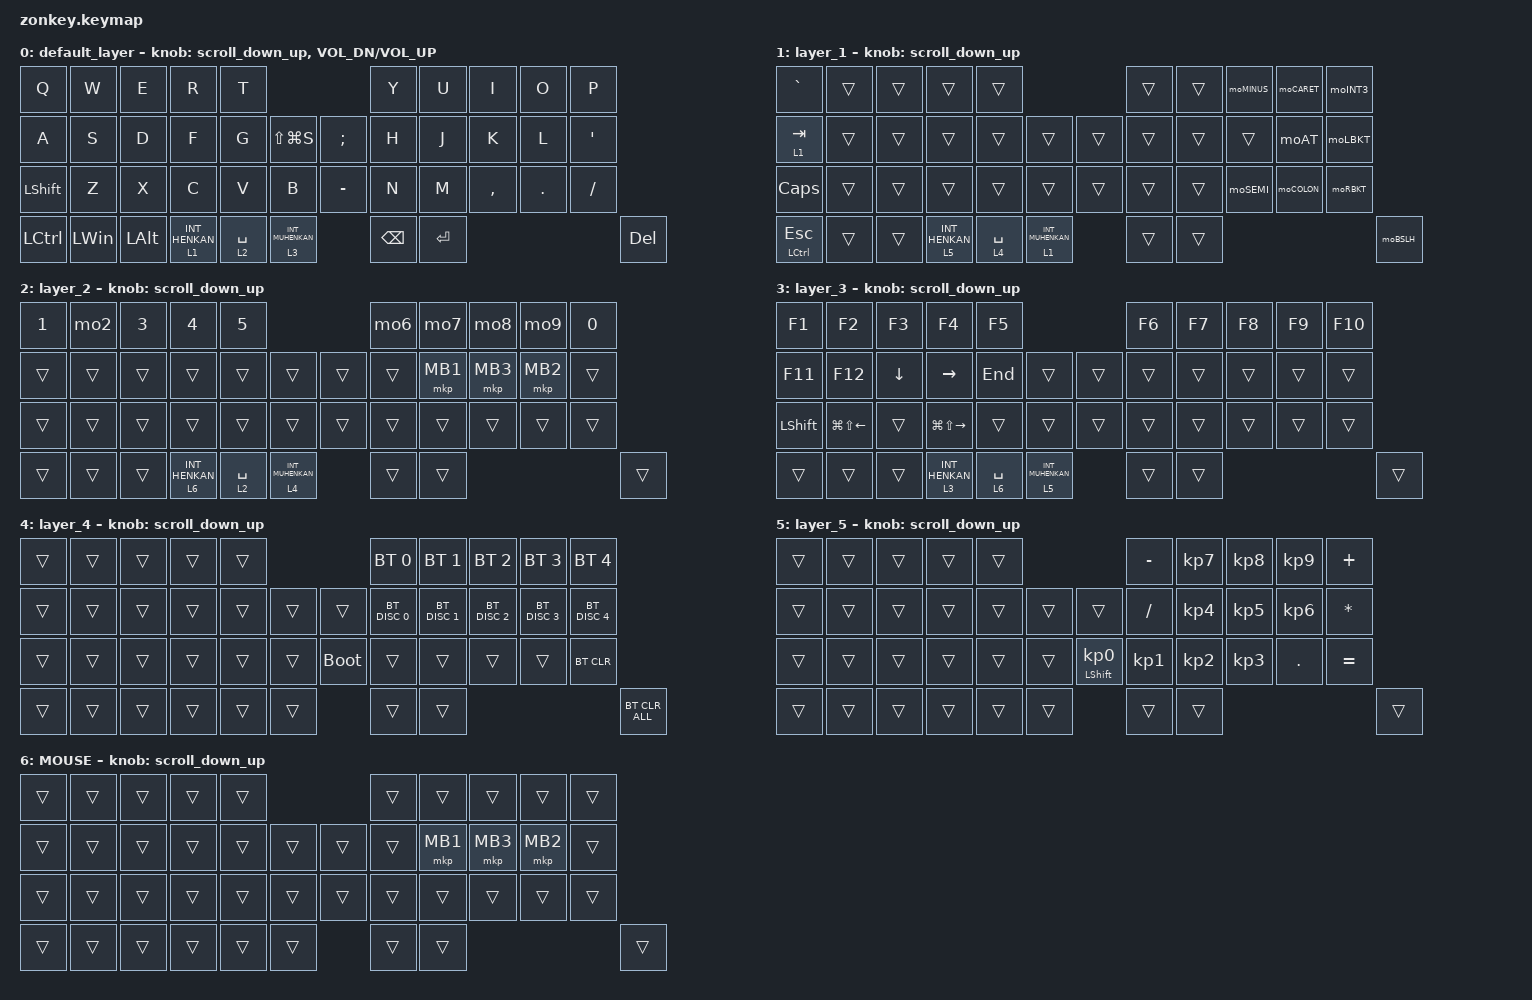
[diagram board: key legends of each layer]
#include <behaviors.dtsi>
#include <dt-bindings/zmk/bt.h>
#include <dt-bindings/zmk/keys.h>
#include <dt-bindings/zmk/pointing.h>

#define ZMK_POINTING_DEFAULT_SCRL_VAL 100
#define JIS 1
#define BT 4
#define MOUSE 6

&mt {
    flavor = "balanced";
    quick-tap-ms = <0>;
};

/ {
    combos { compatible = "zmk,combos"; };

    macros {
        to_layer_0: to_layer_0 {
            compatible = "zmk,behavior-macro-one-param";
            #binding-cells = <1>;
            bindings = <&to 0 &macro_param_1to1 &kp MACRO_PLACEHOLDER>;
            label = "TO_LAYER_0";
        };
    };

    behaviors {
        lt_to_layer_0: lt_to_layer_0 {
            compatible = "zmk,behavior-hold-tap";
            label = "LAYER_TAP_TO_0";
            bindings = <&mo>, <&to_layer_0>;

            #binding-cells = <2>;
            tapping-term-ms = <200>;
        };

        toJIS: toJIS {
            compatible = "zmk,behavior-hold-tap";
            label = "toJIS";
            #binding-cells = <2>;
            tapping-term-ms = <200>;
            quick-tap-ms = <0>;
            bindings = <&tog>, <&kp>;
        };

        mo2: mo2 {
            compatible = "zmk,behavior-mod-morph";
            #binding-cells = <0>;
            bindings = <&kp N2>, <&kp DQT>;

            mods = <(MOD_LSFT|MOD_RSFT)>;
        };

        mo6: mo6 {
            compatible = "zmk,behavior-mod-morph";
            #binding-cells = <0>;
            bindings = <&kp N6>, <&kp AMPS>;

            mods = <(MOD_LSFT|MOD_RSFT)>;
        };

        mo7: mo7 {
            compatible = "zmk,behavior-mod-morph";
            #binding-cells = <0>;
            bindings = <&kp N7>, <&kp APOS>;

            mods = <(MOD_LSFT|MOD_RSFT)>;
        };

        mo8: mo8 {
            compatible = "zmk,behavior-mod-morph";
            #binding-cells = <0>;
            bindings = <&kp N8>, <&kp LPAR>;

            mods = <(MOD_LSFT|MOD_RSFT)>;
        };

        mo9: mo9 {
            compatible = "zmk,behavior-mod-morph";
            #binding-cells = <0>;
            bindings = <&kp N9>, <&kp RPAR>;

            mods = <(MOD_LSFT|MOD_RSFT)>;
        };

        moMINUS: moMINUS {
            compatible = "zmk,behavior-mod-morph";
            #binding-cells = <0>;
            bindings = <&kp MINUS>, <&kp EQUAL>;

            mods = <(MOD_LSFT|MOD_RSFT)>;
        };

        moCARET: moCARET {
            compatible = "zmk,behavior-mod-morph";
            #binding-cells = <0>;
            bindings = <&kp CARET>, <&kp TILDE>;

            mods = <(MOD_LSFT|MOD_RSFT)>;
        };

        moINT3: moINT3 {
            compatible = "zmk,behavior-mod-morph";
            #binding-cells = <0>;
            bindings = <&kp INT3>, <&kp PIPE>;

            mods = <(MOD_LSFT|MOD_RSFT)>;
        };

        moAT: moAT {
            compatible = "zmk,behavior-mod-morph";
            #binding-cells = <0>;
            bindings = <&kp AT>, <&kp GRAVE>;

            mods = <(MOD_LSFT|MOD_RSFT)>;
        };

        moLBKT: moLBKT {
            compatible = "zmk,behavior-mod-morph";
            #binding-cells = <0>;
            bindings = <&kp LBKT>, <&kp LS(LBRC)>;

            mods = <(MOD_LSFT|MOD_RSFT)>;
        };

        moRBKT: moRBKT {
            compatible = "zmk,behavior-mod-morph";
            #binding-cells = <0>;
            bindings = <&kp RBKT>, <&kp LS(RBRC)>;

            mods = <(MOD_LSFT|MOD_RSFT)>;
        };

        moSEMI: moSEMI {
            compatible = "zmk,behavior-mod-morph";
            #binding-cells = <0>;
            bindings = <&kp SEMI>, <&kp PLUS>;

            mods = <(MOD_LSFT|MOD_RSFT)>;
        };

        moCOLON: moCOLON {
            compatible = "zmk,behavior-mod-morph";
            #binding-cells = <0>;
            bindings = <&kp COLON>, <&kp ASTRK>;

            mods = <(MOD_LSFT|MOD_RSFT)>;
        };

        moBSLH: moBSLH {
            compatible = "zmk,behavior-mod-morph";
            #binding-cells = <0>;
            bindings = <&kp BSLH>, <&kp UNDER>;

            mods = <(MOD_LSFT|MOD_RSFT)>;
        };

        scroll_down_up: behavior_sensor_rotate_mouse_wheel_down_up {
            compatible = "zmk,behavior-sensor-rotate";
            #sensor-binding-cells = <0>;
            bindings = <&msc SCRL_DOWN>, <&msc SCRL_UP>;

            tap-ms = <20>;
        };
    };

    keymap {
        compatible = "zmk,keymap";

        default_layer {
            bindings = <
&kp Q           &kp W         &kp E         &kp R             &kp T                                             &kp Y          &kp U      &kp I      &kp O    &kp P
&kp A           &kp S         &kp D         &kp F             &kp G        &kp LS(LG(S))         &kp SEMICOLON  &kp H          &kp J      &kp K      &kp L    &kp SQT
&kp LEFT_SHIFT  &kp Z         &kp X         &kp C             &kp V        &kp B                 &kp MINUS      &kp N          &kp M      &kp COMMA  &kp DOT  &kp SLASH
&kp LCTRL       &kp LEFT_WIN  &kp LEFT_ALT  &lt 1 INT_HENKAN  &lt 2 SPACE  &lt 3 INT_MUHENKAN                   &kp BACKSPACE  &kp ENTER                                 &kp DEL
            >;

            sensor-bindings =
                <&scroll_down_up>,
                <&inc_dec_kp C_VOL_DN C_VOL_UP>;
        };

        layer_1 {
            bindings = <
&kp GRAVE     &trans  &trans  &trans            &trans                                     &trans  &trans  &moMINUS  &moCARET  &moINT3
&toJIS 1 TAB  &trans  &trans  &trans            &trans       &trans                &trans  &trans  &trans  &trans    &moAT     &moLBKT
&kp CAPS      &trans  &trans  &trans            &trans       &trans                &trans  &trans  &trans  &moSEMI   &moCOLON  &moRBKT
&mt LCTL ESC  &trans  &trans  &lt 5 INT_HENKAN  &lt 4 SPACE  &lt 1 INT_MUHENKAN            &trans  &trans                               &moBSLH
            >;

            sensor-bindings = <&scroll_down_up>;
        };

        layer_2 {
            bindings = <
&kp N1  &mo2    &kp N3  &kp N4            &kp N5                                     &mo6    &mo7      &mo8      &mo9      &kp N0
&trans  &trans  &trans  &trans            &trans       &trans                &trans  &trans  &mkp MB1  &mkp MB3  &mkp MB2  &trans
&trans  &trans  &trans  &trans            &trans       &trans                &trans  &trans  &trans    &trans    &trans    &trans
&trans  &trans  &trans  &lt 6 INT_HENKAN  &lt 2 SPACE  &lt 4 INT_MUHENKAN            &trans  &trans                                &trans
            >;

            sensor-bindings = <&scroll_down_up>;
        };

        layer_3 {
            bindings = <
&kp F1          &kp F2                  &kp F3          &kp F4                   &kp F5                                     &kp F6  &kp F7  &kp F8  &kp F9  &kp F10
&kp F11         &kp F12                 &kp DOWN_ARROW  &kp RIGHT_ARROW          &kp END      &trans                &trans  &trans  &trans  &trans  &trans  &trans
&kp LEFT_SHIFT  &kp LG(LS(LEFT_ARROW))  &trans          &kp LG(LS(RIGHT_ARROW))  &trans       &trans                &trans  &trans  &trans  &trans  &trans  &trans
&trans          &trans                  &trans          &lt 3 INT_HENKAN         &lt 6 SPACE  &lt 5 INT_MUHENKAN            &trans  &trans                           &trans
            >;

            sensor-bindings = <&scroll_down_up>;
        };

        layer_4 {
            bindings = <
&trans  &trans  &trans  &trans  &trans                         &bt BT_SEL 0   &bt BT_SEL 1   &bt BT_SEL 2   &bt BT_SEL 3   &bt BT_SEL 4
&trans  &trans  &trans  &trans  &trans  &trans    &trans       &bt BT_DISC 0  &bt BT_DISC 1  &bt BT_DISC 2  &bt BT_DISC 3  &bt BT_DISC 4
&trans  &trans  &trans  &trans  &trans  &trans    &bootloader  &trans         &trans         &trans         &trans         &bt BT_CLR
&trans  &trans  &trans  &trans  &trans  &trans                 &trans         &trans                                                      &bt BT_CLR_ALL
            >;

            sensor-bindings = <&scroll_down_up>;
        };

        layer_5 {
            bindings = <
&trans  &trans  &trans  &trans  &trans                                        &kp MINUS        &kp KP_NUMBER_7  &kp KP_NUMBER_8  &kp KP_NUMBER_9  &kp PLUS
&trans  &trans  &trans  &trans  &trans  &trans    &trans                      &kp SLASH        &kp KP_NUMBER_4  &kp KP_NUMBER_5  &kp KP_NUMBER_6  &kp ASTERISK
&trans  &trans  &trans  &trans  &trans  &trans    &mt LEFT_SHIFT KP_NUMBER_0  &kp KP_NUMBER_1  &kp KP_NUMBER_2  &kp KP_NUMBER_3  &kp PERIOD       &kp EQUAL
&trans  &trans  &trans  &trans  &trans  &trans                                &trans           &trans                                                           &trans
            >;

            sensor-bindings = <&scroll_down_up>;
        };

        MOUSE {
            bindings = <
&trans  &trans  &trans  &trans  &trans                    &trans  &trans    &trans    &trans    &trans
&trans  &trans  &trans  &trans  &trans  &trans    &trans  &trans  &mkp MB1  &mkp MB3  &mkp MB2  &trans
&trans  &trans  &trans  &trans  &trans  &trans    &trans  &trans  &trans    &trans    &trans    &trans
&trans  &trans  &trans  &trans  &trans  &trans            &trans  &trans                                &trans
            >;

            sensor-bindings = <&scroll_down_up>;
        };
    };
};
